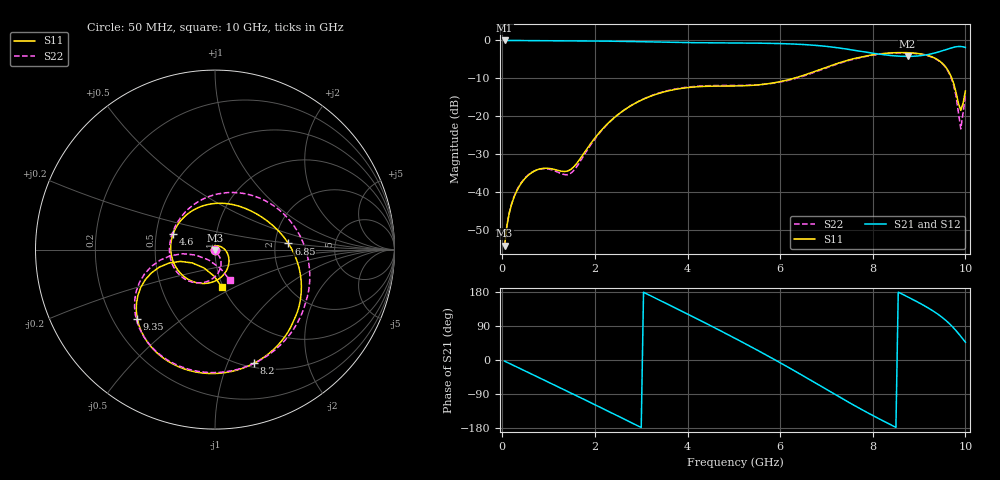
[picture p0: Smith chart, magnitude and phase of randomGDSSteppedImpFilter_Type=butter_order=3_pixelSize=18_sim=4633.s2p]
! freq	dB(S11)	phase(S11)	dB(S12)	phase(S12)
!  dB(S21)	phase(S21)	dB(S22)	phase(S22)
!S-par simulation data
#  GHz  S  DB  R 50
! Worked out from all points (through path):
!   200 points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, 50 MHz to 10 GHz, reference 50 ohm
!   highest |S21| = 0.00 dB at 50 MHz (marker M1); lowest = -4.2 dB at 8.75 GHz (marker M2)
!   group delay of S21, straight-line fit = 180 ps
!   lowest |S11| = -54.2 dB at 50 MHz (marker M3), VSWR 1.00, Z = 50 - j0.193 ohm
!   |S11| at or under -10 dB: start of sweep to 6.296 GHz; 9.706 GHz to end of sweep
!   |S22| runs from -54.4 to -3.3 dB; largest |S21 - S12| = 0
!   S11 on the Smith chart (normalised r, x): 50 MHz: 1.00, -0.00; 4.6 GHz: 0.61, +0.11; 6.85 GHz: 2.37, +0.20; 8.2 GHz: 0.55, -1.25; 9.35 GHz: 0.30, -0.35; 10 GHz: 0.99, -0.44
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0.05  -54.22 -82.5  -0.00 -3.0  -0.00 -3.0  -54.38 -77.6
0.2  -43.35 -101.9  -0.02 -11.8  -0.02 -11.8  -43.20 -94.4
0.45  -37.06 -124.9  -0.04 -26.5  -0.04 -26.5  -36.93 -106.8
1.15  -34.17 158.7  -0.08 -67.6  -0.08 -67.6  -34.57 -118.6
1.45  -34.31 98.6  -0.10 -85.3  -0.10 -85.3  -35.33 -91.3
1.75  -30.05 37.3  -0.12 -103.1  -0.12 -103.1  -30.63 -61.3
2.65  -18.24 -54.3  -0.26 -157.0  -0.26 -157.0  -18.24 -79.1
3.4  -13.92 -110.3  -0.44 157.7  -0.44 157.7  -13.85 -114.0
4.05  -12.40 -158.1  -0.58 118.2  -0.58 118.2  -12.28 -145.1
4.6  -12.07 159.5  -0.64 84.2  -0.64 84.2  -11.92 -170.8
5.05  -12.02 123.5  -0.67 55.7  -0.67 55.7  -11.91 167.7
5.9  -11.13 59.7  -0.80 -0.4  -0.80 -0.4  -11.22 118.0
6.7  -8.40 13.0  -1.24 -56.2  -1.24 -56.2  -8.59 52.6
6.85  -7.74 4.8  -1.39 -66.9  -1.39 -66.9  -7.92 39.4
7.55  -4.94 -34.4  -2.50 -116.5  -2.50 -116.5  -5.06 -19.3
8.2  -3.49 -70.9  -3.72 -159.2  -3.72 -159.2  -3.57 -65.9
8.35  -3.33 -79.3  -3.94 -168.6  -3.94 -168.6  -3.41 -75.7
8.75  -3.24 -101.6  -4.22 166.8  -4.22 166.8  -3.30 -100.8
9.35  -4.75 -138.5  -3.28 125.6  -3.28 125.6  -4.82 -140.5
9.7  -9.78 -162.5  -1.95 90.5  -1.95 90.5  -10.09 -169.1
9.9  -18.48 -121.4  -1.60 62.5  -1.60 62.5  -23.38 -120.8
10  -13.36 -79.4  -1.86 46.9  -1.86 46.9  -14.38 -63.9
